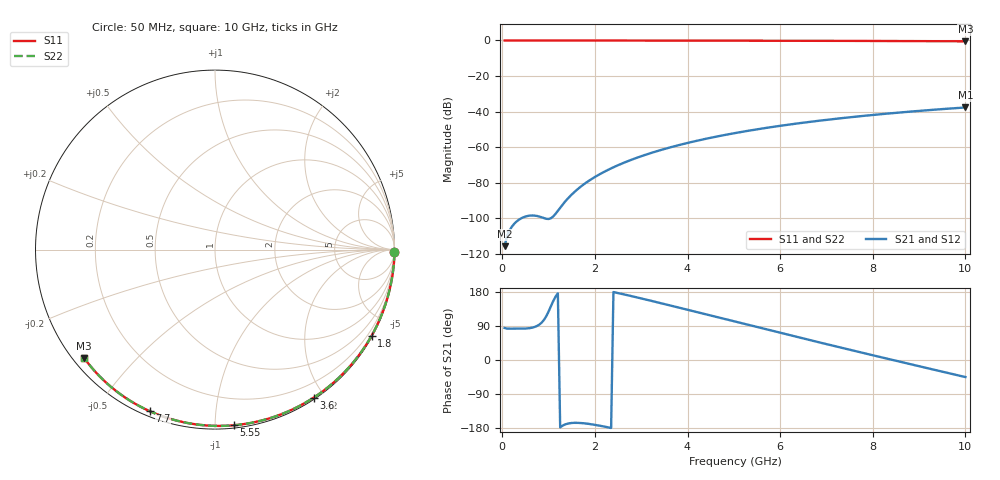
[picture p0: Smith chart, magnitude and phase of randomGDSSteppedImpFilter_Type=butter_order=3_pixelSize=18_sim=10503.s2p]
! freq	dB(S11)	phase(S11)	dB(S12)	phase(S12)
!  dB(S21)	phase(S21)	dB(S22)	phase(S22)
!S-par simulation data
#  GHz  S  DB  R 50
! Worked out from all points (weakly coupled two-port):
!   200 points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, 50 MHz to 10 GHz, reference 50 ohm
!   highest |S21| = -37.70 dB at 10 GHz (marker M1); lowest = -115.8 dB at 50 MHz (marker M2)
!   lowest |S11| = -0.5 dB at 10 GHz (marker M3), VSWR 36.64, Z = 1.54 - j18 ohm
!   |S11| at or under -10 dB: nowhere
!   |S22| runs from -0.5 to 0.0 dB; largest |S21 - S12| = 0
!   S11 on the Smith chart (normalised r, x): 50 MHz: open; 1.8 GHz: 0.03, -3.88; 3.6 GHz: 0.02, -1.87; 5.55 GHz: 0.02, -1.11; 7.7 GHz: 0.02, -0.67; 10 GHz: 0.03, -0.36
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0.05  -0.00 -0.8  -115.76 84.5  -115.76 84.5  -0.00 -0.8
0.45  -0.01 -7.3  -99.57 82.8  -99.57 82.8  -0.01 -7.3
0.9  -0.02 -14.6  -99.99 105.9  -99.99 105.9  -0.02 -14.6
1.3  -0.03 -21.0  -92.46 -173.4  -92.46 -173.4  -0.03 -21.0
1.75  -0.04 -28.1  -81.15 -166.9  -81.15 -166.9  -0.04 -28.1
1.8  -0.04 -28.9  -80.21 -167.5  -80.21 -167.5  -0.04 -28.9
2.15  -0.04 -34.3  -74.61 -174.4  -74.61 -174.4  -0.04 -34.4
2.35  -0.05 -37.4  -71.97 -179.4  -71.97 -179.4  -0.05 -37.5
2.55  -0.05 -40.5  -69.63 175.3  -69.63 175.3  -0.05 -40.5
2.95  -0.06 -46.6  -65.60 164.0  -65.60 164.0  -0.06 -46.6
3.4  -0.07 -53.4  -61.83 150.7  -61.83 150.7  -0.07 -53.4
3.6  -0.08 -56.3  -60.35 144.7  -60.35 144.7  -0.08 -56.4
3.9  -0.08 -60.7  -58.31 135.6  -58.31 135.6  -0.08 -60.8
4.3  -0.09 -66.5  -55.88 123.4  -55.88 123.4  -0.09 -66.6
5.05  -0.12 -77.1  -52.00 100.6  -52.00 100.6  -0.12 -77.1
5.55  -0.14 -84.0  -49.81 85.4  -49.81 85.4  -0.14 -84.0
6.1  -0.16 -91.4  -47.67 68.8  -47.67 68.8  -0.16 -91.4
6.7  -0.19 -99.2  -45.62 50.8  -45.62 50.8  -0.19 -99.3
7.7  -0.26 -112.0  -42.70 21.3  -42.70 21.3  -0.26 -112.0
8.35  -0.31 -120.1  -41.08 2.3  -41.08 2.3  -0.31 -120.2
9.2  -0.39 -130.6  -39.22 -22.1  -39.22 -22.1  -0.39 -130.6
10  -0.47 -140.3  -37.70 -45.0  -37.70 -45.0  -0.47 -140.4
